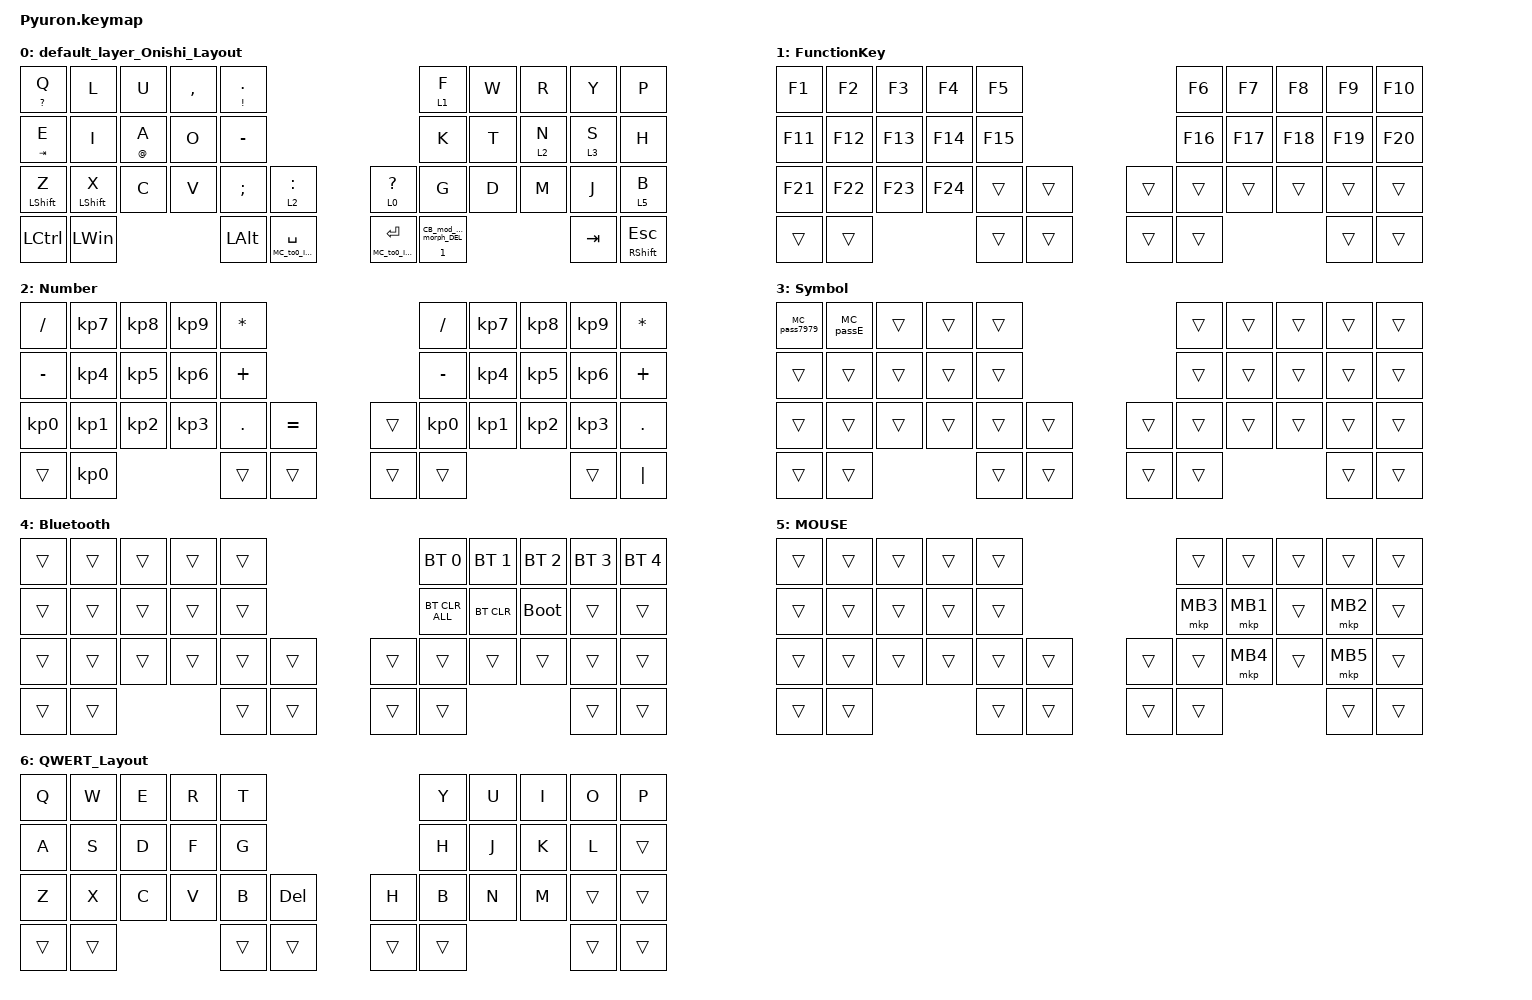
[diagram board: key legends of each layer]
#include <behaviors.dtsi>
#include <dt-bindings/zmk/bt.h>
#include <dt-bindings/zmk/keys.h>
#include <dt-bindings/zmk/pointing.h>

#define MOUSE 6

&mt {
    flavor = "balanced";
    quick-tap-ms = <0>;
};

/ {
    combos {
        compatible = "zmk,combos";

        MB1 {
            bindings = <&mkp MB1>;
            key-positions = <16 17>;
        };

        MB2 {
            bindings = <&mkp MB2>;
            key-positions = <17 18>;
        };

        MB3 {
            bindings = <&mkp MB3>;
            key-positions = <16 18>;
        };

        MB4 {
            bindings = <&mkp MB4>;
            key-positions = <17 28>;
        };

        MB5 {
            bindings = <&mkp MB5>;
            key-positions = <17 30>;
        };

        Left {
            bindings = <&kp LEFT_ARROW>;
            key-positions = <6 7>;
        };

        Right {
            bindings = <&kp RIGHT_ARROW>;
            key-positions = <7 8>;
        };

        Up {
            bindings = <&kp UP_ARROW>;
            key-positions = <6 7 8>;
        };

        Down {
            bindings = <&kp DOWN>;
            key-positions = <16 17 18>;
        };

        PageUp {
            bindings = <&kp PAGE_UP>;
            key-positions = <5 6>;
        };

        PageDown {
            bindings = <&kp PAGE_DOWN>;
            key-positions = <15 16>;
        };

        Home {
            bindings = <&kp HOME>;
            key-positions = <9 8>;
        };

        End {
            bindings = <&kp END>;
            key-positions = <18 19>;
        };

        Win+Left {
            bindings = <&kp LG(LEFT)>;
            key-positions = <1 2>;
        };

        Win+Right {
            bindings = <&kp LG(RIGHT)>;
            key-positions = <2 3>;
        };

        Win+Up {
            bindings = <&kp LG(UP)>;
            key-positions = <1 2 3>;
        };

        Win+Down {
            bindings = <&kp LG(DOWN)>;
            key-positions = <11 12 13>;
        };

        Tab {
            bindings = <&kp TAB>;
            key-positions = <10 11>;
        };

        Layer0_IME_on {
            bindings = <&MC_to0_IME_on>;
            key-positions = <25 26>;
        };

        Layer0_IME_off {
            bindings = <&MC_to0_IME_off>;
            key-positions = <35 36>;
        };

        QWERT_Layout {
            bindings = <&to 6>;
            key-positions = <0 1 2 3>;
        };
    };

    macros {
        MC_to0_IME_on: to_layer_0 {
            compatible = "zmk,behavior-macro";
            #binding-cells = <0>;
            bindings = <&to 0 &kp INTERNATIONAL_4>;
            label = "TO_LAYER_0";
        };

        MC_to0_IME_off: to0_IME_off {
            compatible = "zmk,behavior-macro";
            #binding-cells = <0>;
            bindings = <&to 0 &kp INTERNATIONAL_5>;
            label = "TO0_IME_OFF";
        };

        MC_passE: MC_passE {
            compatible = "zmk,behavior-macro";
            #binding-cells = <0>;
            bindings = <&kp LS(O) &kp R &kp E &kp KP_N9 &kp KP_NUMBER_6 &kp KP_NUMBER_1 &kp KP_NUMBER_2 &kp E>;
            label = "MC_PASSE";
        };

        MC_pass7979: MC_pass7979 {
            compatible = "zmk,behavior-macro";
            #binding-cells = <0>;
            bindings = <&kp LS(O) &kp R &kp E &kp KP_N9 &kp KP_NUMBER_6 &kp KP_NUMBER_1 &kp KP_NUMBER_2 &kp KP_NUMBER_1 &kp KP_NUMBER_0 &kp KP_NUMBER_2 &kp KP_NUMBER_2 &kp KP_NUMBER_7 &kp KP_NUMBER_9 &kp KP_NUMBER_7 &kp KP_NUMBER_9>;
            label = "MC_PASS7979";
        };
    };

    CB_hold_to0_IME_on: CB_hold_to0_IME_on {
        compatible = "zmk,behavior-hold-tap";
        label = "CB_HOLD_TO0_IME_ON";
        bindings = <&MC_to0_IME_on>, <&kp>;

        #binding-cells = <2>;
        tapping-term-ms = <170>;
        flavor = "balanced";
        quick-tap-ms = <170>;
        require-prior-idle-ms = <170>;
    };

    CB_hold_to0_IME_off: CB_hold_to0_IME_off {
        compatible = "zmk,behavior-hold-tap";
        label = "CB_HOLD_TO0_IME_OFF";
        bindings = <&MC_to0_IME_off>, <&kp>;

        #binding-cells = <2>;
        tapping-term-ms = <170>;
        quick-tap-ms = <2000>;
        require-prior-idle-ms = <170>;
        flavor = "balanced";
    };

    CB_hold_toLayer_keypress: CB_hold_toLayer_keypress {
        compatible = "zmk,behavior-hold-tap";
        label = "CB_HOLD_TOLAYER_KEYPRESS";
        bindings = <&to>, <&kp>;

        #binding-cells = <2>;
        tapping-term-ms = <170>;
    };

    CB_mod_minus_SFT_morph_at: CB_mod_minus_SFT_morph_at {
        compatible = "zmk,behavior-mod-morph";
        label = "CB_MOD_MINUS_SFT_MORPH_AT";
        bindings = <&kp MINUS>, <&kp AT>;

        #binding-cells = <0>;
        mods = <(MOD_RSFT)>;
    };

    CB_mod_Q_SFT_morph_Exclamation: CB_mod_Q_SFT_morph_Exclamation {
        compatible = "zmk,behavior-mod-morph";
        label = "CB_MOD_Q_SFT_MORPH_EXCLAMATION";
        bindings = <&kp QUESTION>, <&kp EXCLAMATION>;

        #binding-cells = <0>;
        mods = <(MOD_RSFT)>;
    };

    CB_mod_BS_SFT_morph_DEL: CB_mod_BS_SFT_morph_DEL {
        compatible = "zmk,behavior-mod-morph";
        label = "CB_MOD_BS_SFT_MORPH_DEL";
        bindings = <&kp BACKSPACE>, <&kp DEL>;

        #binding-cells = <0>;
        mods = <(MOD_RSFT)>;
    };

    CB_hold_yt_tap_modmorph_BS_DEL: CB_hold_yt_tap_modmorph_BS_DEL {
        compatible = "zmk,behavior-hold-tap";
        label = "CB_HOLD_YT_TAP_MODMORPH_BS_DEL";
        bindings = <&lt>, <&CB_mod_BS_SFT_morph_DEL>;

        #binding-cells = <2>;
        tapping-term-ms = <170>;
    };
};

/ {
    behaviors {
    };

    keymap {
        compatible = "zmk,keymap";

        default_layer_Onishi_Layout {
            bindings = <
&mt QUESTION Q    &kp L             &kp U      &kp COMMA     &mt EXCL DOT   &CB_hold_toLayer_keypress 1 F      &kp W                                 &kp R                                &kp Y                          &kp P
&mt TAB E         &kp I             &mt AT A   &kp O         &kp MINUS      &kp K                              &kp T                                 &CB_hold_toLayer_keypress 2 N        &CB_hold_toLayer_keypress 3 S  &kp H
&mt LEFT_SHIFT Z  &mt LEFT_SHIFT X  &kp C      &kp V         &kp SEMICOLON  &CB_hold_toLayer_keypress 2 COLON  &CB_hold_toLayer_keypress 0 QUESTION  &kp G                                &kp D                          &kp M
&kp J             &lt 5 B           &kp LCTRL  &kp LEFT_WIN  &kp LEFT_ALT   &CB_hold_to0_IME_off 0 SPACE       &CB_hold_to0_IME_on 0 ENTER           &CB_hold_yt_tap_modmorph_BS_DEL 1 0  &kp TAB                        &mt RSHFT ESC
            >;
        };

        FunctionKey {
            bindings = <
&kp F1   &kp F2   &kp F3   &kp F4   &kp F5   &kp F6   &kp F7   &kp F8   &kp F9   &kp F10
&kp F11  &kp F12  &kp F13  &kp F14  &kp F15  &kp F16  &kp F17  &kp F18  &kp F19  &kp F20
&kp F21  &kp F22  &kp F23  &kp F24  &trans   &trans   &trans   &trans   &trans   &trans
&trans   &trans   &trans   &trans   &trans   &trans   &trans   &trans   &trans   &trans
            >;
        };

        Number {
            bindings = <
&kp SLASH        &kp KP_NUMBER_7  &kp KP_NUMBER_8  &kp KP_NUMBER_9  &kp ASTERISK  &kp SLASH  &kp KP_NUMBER_7  &kp KP_NUMBER_8  &kp KP_NUMBER_9  &kp ASTERISK
&kp MINUS        &kp KP_NUMBER_4  &kp KP_NUMBER_5  &kp KP_NUMBER_6  &kp PLUS      &kp MINUS  &kp KP_NUMBER_4  &kp KP_NUMBER_5  &kp KP_NUMBER_6  &kp PLUS
&kp KP_NUMBER_0  &kp KP_NUMBER_1  &kp KP_NUMBER_2  &kp KP_NUMBER_3  &kp PERIOD    &kp EQUAL  &trans           &kp KP_NUMBER_0  &kp KP_NUMBER_1  &kp KP_NUMBER_2
&kp KP_NUMBER_3  &kp PERIOD       &trans           &kp KP_NUMBER_0  &trans        &trans     &trans           &trans           &trans           &kp PIPE
            >;
        };

        Symbol {
            bindings = <
&MC_pass7979  &MC_passE  &trans  &trans  &trans  &trans  &trans  &trans  &trans  &trans
&trans        &trans     &trans  &trans  &trans  &trans  &trans  &trans  &trans  &trans
&trans        &trans     &trans  &trans  &trans  &trans  &trans  &trans  &trans  &trans
&trans        &trans     &trans  &trans  &trans  &trans  &trans  &trans  &trans  &trans
            >;
        };

        Bluetooth {
            bindings = <
&trans  &trans  &trans  &trans  &trans  &bt BT_SEL 0    &bt BT_SEL 1  &bt BT_SEL 2  &bt BT_SEL 3  &bt BT_SEL 4
&trans  &trans  &trans  &trans  &trans  &bt BT_CLR_ALL  &bt BT_CLR    &bootloader   &trans        &trans
&trans  &trans  &trans  &trans  &trans  &trans          &trans        &trans        &trans        &trans
&trans  &trans  &trans  &trans  &trans  &trans          &trans        &trans        &trans        &trans
            >;
        };

        MOUSE {
            bindings = <
&trans    &trans  &trans  &trans  &trans  &trans    &trans    &trans  &trans    &trans
&trans    &trans  &trans  &trans  &trans  &mkp MB3  &mkp MB1  &trans  &mkp MB2  &trans
&trans    &trans  &trans  &trans  &trans  &trans    &trans    &trans  &mkp MB4  &trans
&mkp MB5  &trans  &trans  &trans  &trans  &trans    &trans    &trans  &trans    &trans
            >;
        };

        QWERT_Layout {
            bindings = <
&kp Q   &kp W   &kp E   &kp R   &kp T   &kp Y    &kp U   &kp I   &kp O   &kp P
&kp A   &kp S   &kp D   &kp F   &kp G   &kp H    &kp J   &kp K   &kp L   &trans
&kp Z   &kp X   &kp C   &kp V   &kp B   &kp DEL  &kp H   &kp B   &kp N   &kp M
&trans  &trans  &trans  &trans  &trans  &trans   &trans  &trans  &trans  &trans
            >;
        };
    };
};
